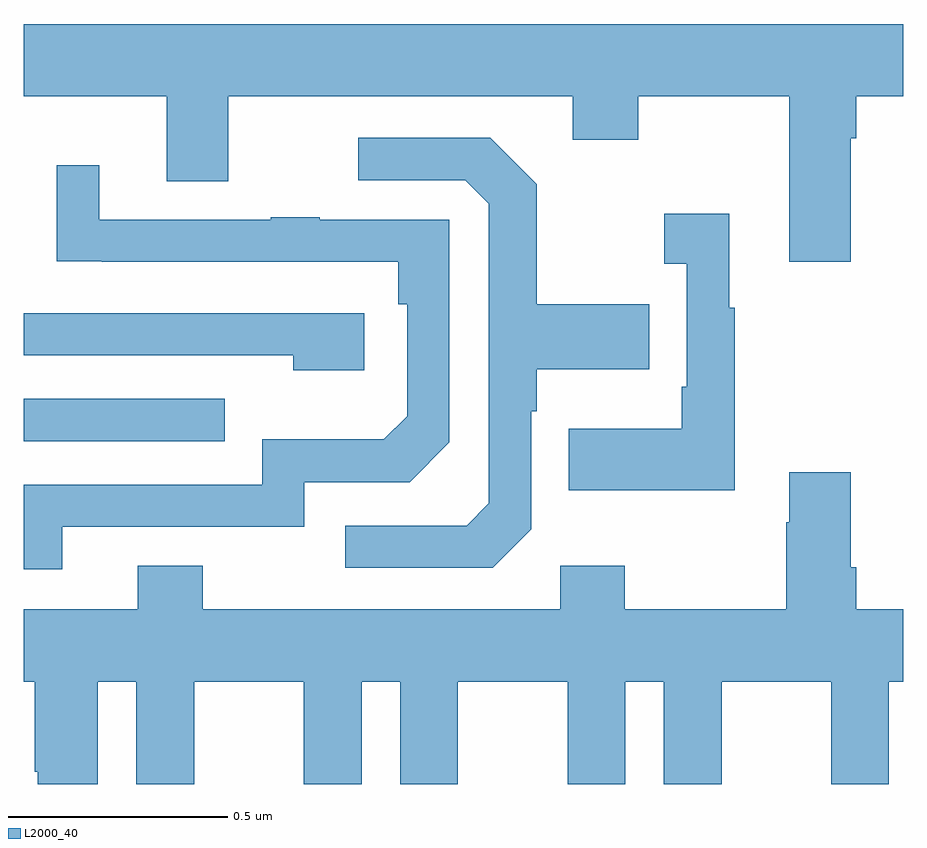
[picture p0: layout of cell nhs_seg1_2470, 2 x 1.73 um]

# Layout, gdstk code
import gdstk
lib = gdstk.Library(unit=1e-6, precision=1e-09)
def R(c, l, rs):  # rectangles x0, y0, x1, y1
    for r in rs: c.add(gdstk.rectangle(r[:2], r[2:], *l))
def P(c, l, *ps):  # polygons
    for p in ps: c.add(gdstk.Polygon(p, *l))
L2000_40 = (2000, 40)

nhs_seg1_2470 = lib.new_cell('nhs_seg1_2470')
R(nhs_seg1_2470, L2000_40, [(142,518.979,142.457,519.075)])
P(nhs_seg1_2470, L2000_40, [(143.881,519.668),(143.894,519.668),(143.894,519.764),(144,519.764),(144,519.928),(142,519.928),(142,519.764),(142.325,519.764),(142.325,519.57),(142.465,519.57),(142.465,519.764),(143.249,519.764),(143.249,519.665),(143.397,519.665),(143.397,519.764),(143.741,519.764),(143.741,519.387),(143.881,519.387)],
  [(143.154,518.778),(143.154,519.047),(143.167,519.047),(143.167,519.143),(143.423,519.143),(143.423,519.291),(143.167,519.291),(143.167,519.563),(143.061,519.669),(142.761,519.669),(142.761,519.573),(143.004,519.573),(143.058,519.519),(143.058,518.838),(143.007,518.787),(142.731,518.787),(142.731,518.691),(143.067,518.691)],
  [(142.087,518.784),(142.638,518.784),(142.638,518.886),(142.878,518.886),(142.968,518.976),(142.968,519.483),(142.673,519.483),(142.673,519.488),(142.561,519.488),(142.561,519.483),(142.171,519.483),(142.171,519.607),(142.075,519.607),(142.075,519.388),(142.177,519.388),(142.177,519.387),(142.852,519.387),(142.852,519.29),(142.872,519.29),(142.872,519.036),(142.819,518.983),(142.542,518.983),(142.542,518.88),(142,518.88),(142,518.688),(142.087,518.688)],
  [(143.617,519.283),(143.605,519.283),(143.605,519.496),(143.457,519.496),(143.457,519.383),(143.508,519.383),(143.508,519.103),(143.496,519.103),(143.496,519.007),(143.239,519.007),(143.239,518.867),(143.617,518.867)],
  [(142.774,519.27),(142,519.27),(142,519.174),(142.613,519.174),(142.613,519.14),(142.774,519.14)],
  [(142.168,518.432),(142.256,518.432),(142.256,518.199),(142.387,518.199),(142.387,518.432),(142.637,518.432),(142.637,518.199),(142.768,518.199),(142.768,518.432),(142.856,518.432),(142.856,518.199),(142.987,518.199),(142.987,518.432),(143.237,518.432),(143.237,518.199),(143.368,518.199),(143.368,518.432),(143.456,518.432),(143.456,518.199),(143.587,518.199),(143.587,518.432),(143.837,518.432),(143.837,518.199),(143.968,518.199),(143.968,518.432),(144,518.432),(144,518.596),(143.894,518.596),(143.894,518.692),(143.881,518.692),(143.881,518.908),(143.741,518.908),(143.741,518.795),(143.734,518.795),(143.734,518.596),(143.367,518.596),(143.367,518.695),(143.22,518.695),(143.22,518.596),(142.407,518.596),(142.407,518.695),(142.259,518.695),(142.259,518.596),(142,518.596),(142,518.432),(142.025,518.432),(142.025,518.227),(142.031,518.227),(142.031,518.199),(142.168,518.199)])

lib.write_gds('nhs_seg1_2470.gds')
